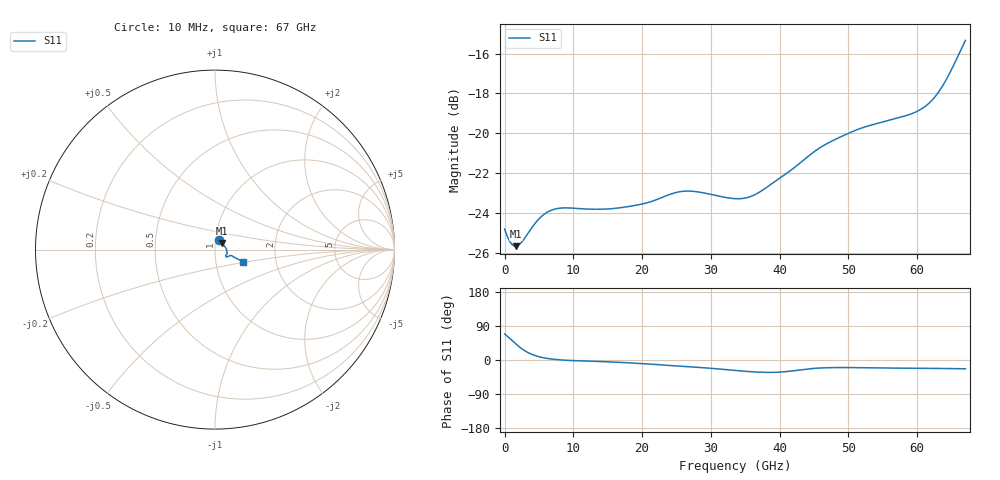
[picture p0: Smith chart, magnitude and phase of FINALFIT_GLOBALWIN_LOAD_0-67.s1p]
! Generated by Phase I extraction
# Hz S RI R 50
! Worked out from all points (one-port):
!   1601 points, 10 MHz to 67 GHz, reference 50 ohm
!   lowest |S11| = -25.7 dB at 1.601 GHz (marker M1), VSWR 1.11, Z = 53.8 + j3.83 ohm
!   |S11| at or under -10 dB: start of sweep to end of sweep
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1e7  0.0207 0.0536
8.892438e8  0.0307 0.0434
1.601012e9  0.0381 0.0355
2.480256e9  0.0461 0.0267
4.448088e9  0.0582 0.0121
5.578544e9  0.0619 0.00675
6.876475e9  0.0641 0.00271
8.38375e9  0.0649 -6.61e-05
1.349174e10  0.0643 -0.00418
1.67575e10  0.0646 -0.00704
2.069316e10  0.0658 -0.0121
2.513125e10  0.0684 -0.0195
2.768524e10  0.0676 -0.0231
3.3505e10  0.0608 -0.0317
3.505414e10  0.0596 -0.0343
3.651955e10  0.0598 -0.0369
3.945036e10  0.0641 -0.0408
4.187875e10  0.0714 -0.039
4.594002e10  0.086 -0.0331
5.02525e10  0.0944 -0.0343
5.263902e10  0.0973 -0.0368
5.862625e10  0.1032 -0.0409
6.088716e10  0.1075 -0.0432
6.180828e10  0.1107 -0.0447
6.268752e10  0.1149 -0.0468
6.427853e10  0.1265 -0.0525
6.666505e10  0.1529 -0.0654
6.7e10  0.1571 -0.0674
